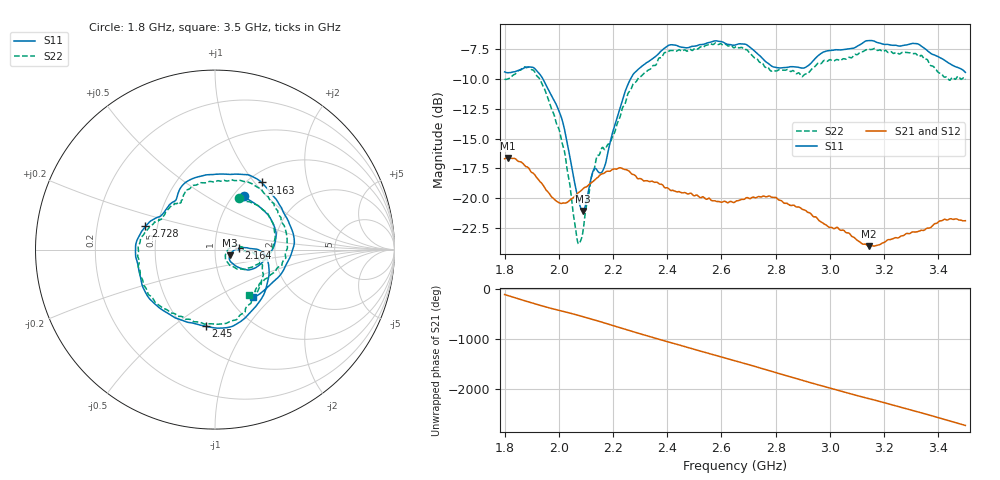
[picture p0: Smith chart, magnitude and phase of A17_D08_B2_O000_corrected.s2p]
! Created with skrf 1.9.0 (http://scikit-rf.org).
# Hz S RI R 50.0
!freq ReS11 ImS11 ReS21 ImS21 ReS12 ImS12 ReS22 ImS22
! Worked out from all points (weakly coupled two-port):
!   1601 points, 1.8 GHz to 3.5 GHz, reference 50 ohm
!   highest |S21| = -16.61 dB at 1.812 GHz (marker M1); lowest = -24.0 dB at 3.144 GHz (marker M2)
!   lowest |S11| = -21.1 dB at 2.089 GHz (marker M3), VSWR 1.19, Z = 58.8 - j3.89 ohm
!   |S11| at or under -10 dB: 1.941 GHz to 2.265 GHz (323.4 MHz wide, 15.4 % of centre)
!   |S22| runs from -23.8 to -7.0 dB; largest |S21 - S12| = 0.0028
!   S11 on the Smith chart (normalised r, x): 1.8 GHz: 1.12, +0.75; 2.164 GHz: 1.30, +0.02; 2.45 GHz: 0.63, -0.66; 2.728 GHz: 0.43, +0.13; 3.163 GHz: 1.15, +1.09; 3.5 GHz: 1.28, -0.76
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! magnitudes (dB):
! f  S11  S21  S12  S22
! 1.8 GHz  -9.4  -16.7  -16.7  -10.0
! 1.812 GHz  -9.5  -16.6  -16.6  -10.0
! 1.885 GHz  -9.0  -17.4  -17.4  -9.0
! 1.94 GHz  -10.0  -18.8  -18.8  -10.5
! 2.011 GHz  -13.4  -20.4  -20.4  -15.3
! 2.066 GHz  -19.5  -19.7  -19.7  -23.2
! 2.084 GHz  -20.9  -19.3  -19.3  -23.4
! 2.089 GHz  -21.1  -19.2  -19.2  -22.8
! 2.126 GHz  -17.7  -18.6  -18.6  -17.8
! 2.164 GHz  -17.6  -17.9  -17.9  -15.8
! 2.26 GHz  -10.2  -17.7  -17.8  -11.1
! 2.367 GHz  -7.9  -18.7  -18.7  -8.3
! 2.45 GHz  -7.3  -19.5  -19.5  -7.6
! 2.65 GHz  -7.2  -20.3  -20.3  -7.4
! 2.728 GHz  -7.8  -20.0  -20.0  -8.2
! 2.802 GHz  -9.0  -19.9  -20.0  -9.3
! 2.934 GHz  -8.6  -21.4  -21.4  -9.2
! 3.144 GHz  -6.8  -24.0  -23.9  -7.5
! 3.163 GHz  -6.8  -24.0  -24.0  -7.5
! 3.217 GHz  -7.1  -23.5  -23.4  -7.8
! 3.324 GHz  -7.1  -22.8  -22.8  -8.1
! 3.5 GHz  -9.5  -21.9  -21.9  -10.0
